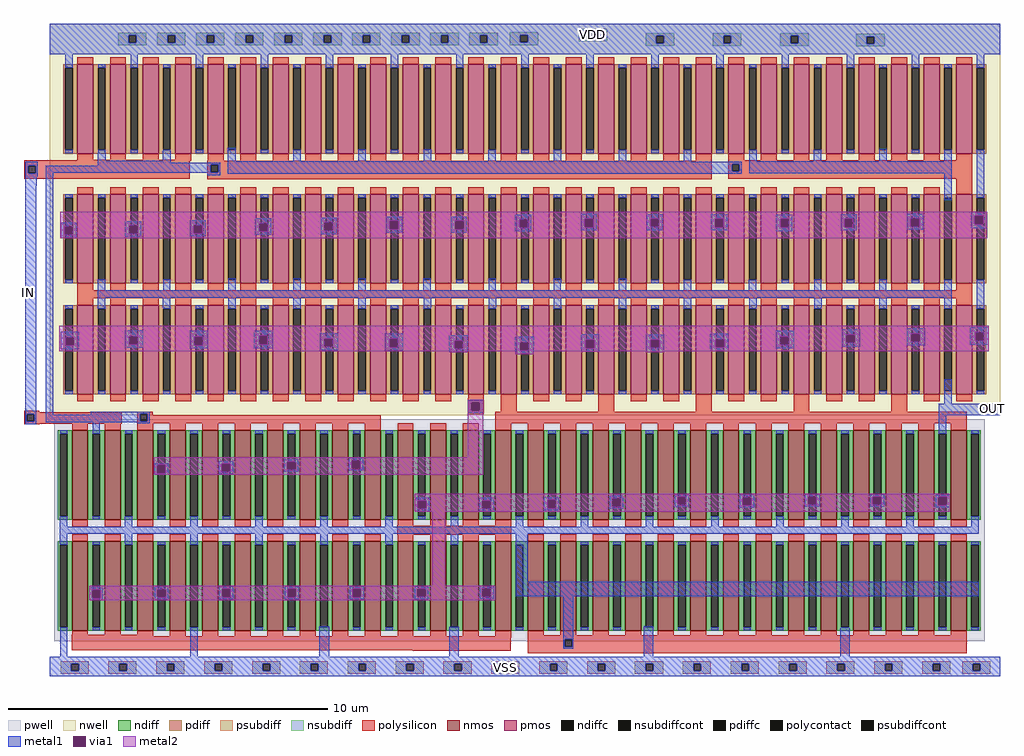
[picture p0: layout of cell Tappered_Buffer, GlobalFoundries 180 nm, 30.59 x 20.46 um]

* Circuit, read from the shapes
.subckt Tappered_Buffer IN OUT
XM1 OUT n1 VSS VSS nfet_03v3 w=2.8u l=0.5u m=32
XM2 n2 IN VSS VSS nfet_03v3 w=2.8u l=0.5u m=2
XM3 n1 n2 VSS VSS nfet_03v3 w=2.8u l=0.5u m=8
XM4 VSS VSS VSS VSS nfet_03v3 w=2.8u l=0.5u m=14
XM5 OUT n1 VDD VDD pfet_03v3 w=2.8u l=0.5u m=64
XM6 n2 IN VDD VDD pfet_03v3 w=2.8u l=0.5u m=4
XM7 n1 n2 VDD VDD pfet_03v3 w=2.8u l=0.5u m=16
.ends

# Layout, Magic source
magic
tech gf180mcuD
magscale 1 10
<< nwell >>
rect 0 788 5956 944
rect 403 757 3125 788
rect 3295 761 3575 788
rect 3707 760 4844 788
rect 5042 765 5257 788
rect 5524 762 5720 788
<< pwell >>
rect 2920 -2260 2970 -2254
rect 3327 -2260 3381 -2253
rect 3735 -2260 3791 -2252
rect 4144 -2260 4198 -2253
rect 4551 -2260 4605 -2254
rect 4959 -2260 5014 -2254
rect 5368 -2260 5429 -2254
<< psubdiff >>
rect 68 -3067 244 -3051
rect 68 -3113 136 -3067
rect 182 -3113 244 -3067
rect 68 -3130 244 -3113
rect 368 -3067 544 -3051
rect 368 -3113 436 -3067
rect 482 -3113 544 -3067
rect 368 -3130 544 -3113
rect 668 -3067 844 -3051
rect 668 -3113 736 -3067
rect 782 -3113 844 -3067
rect 668 -3130 844 -3113
rect 968 -3067 1144 -3051
rect 968 -3113 1036 -3067
rect 1082 -3113 1144 -3067
rect 968 -3130 1144 -3113
rect 1268 -3067 1444 -3051
rect 1268 -3113 1336 -3067
rect 1382 -3113 1444 -3067
rect 1268 -3130 1444 -3113
rect 1568 -3067 1744 -3051
rect 1568 -3113 1636 -3067
rect 1682 -3113 1744 -3067
rect 1568 -3130 1744 -3113
rect 1868 -3067 2044 -3051
rect 1868 -3113 1936 -3067
rect 1982 -3113 2044 -3067
rect 1868 -3130 2044 -3113
rect 2168 -3067 2344 -3051
rect 2168 -3113 2236 -3067
rect 2282 -3113 2344 -3067
rect 2168 -3130 2344 -3113
rect 2468 -3067 2644 -3051
rect 2468 -3113 2536 -3067
rect 2582 -3113 2644 -3067
rect 2468 -3130 2644 -3113
rect 2768 -3067 2944 -3051
rect 2768 -3113 2836 -3067
rect 2882 -3113 2944 -3067
rect 2768 -3130 2944 -3113
rect 3068 -3067 3244 -3051
rect 3068 -3113 3136 -3067
rect 3182 -3113 3244 -3067
rect 3068 -3130 3244 -3113
rect 3368 -3067 3544 -3051
rect 3368 -3113 3436 -3067
rect 3482 -3113 3544 -3067
rect 3368 -3130 3544 -3113
rect 3668 -3067 3844 -3051
rect 3668 -3113 3736 -3067
rect 3782 -3113 3844 -3067
rect 3668 -3130 3844 -3113
rect 3968 -3067 4144 -3051
rect 3968 -3113 4036 -3067
rect 4082 -3113 4144 -3067
rect 3968 -3130 4144 -3113
rect 4268 -3067 4444 -3051
rect 4268 -3113 4336 -3067
rect 4382 -3113 4444 -3067
rect 4268 -3130 4444 -3113
rect 4568 -3067 4744 -3051
rect 4568 -3113 4636 -3067
rect 4682 -3113 4744 -3067
rect 4568 -3130 4744 -3113
rect 4868 -3067 5044 -3051
rect 4868 -3113 4936 -3067
rect 4982 -3113 5044 -3067
rect 4868 -3130 5044 -3113
rect 5168 -3067 5344 -3051
rect 5168 -3113 5236 -3067
rect 5282 -3113 5344 -3067
rect 5168 -3130 5344 -3113
rect 5468 -3067 5644 -3051
rect 5468 -3113 5536 -3067
rect 5582 -3113 5644 -3067
rect 5468 -3130 5644 -3113
rect 5718 -3067 5894 -3051
rect 5718 -3113 5786 -3067
rect 5832 -3113 5894 -3067
rect 5718 -3130 5894 -3113
<< nsubdiff >>
rect 3315 905 3492 913
rect 3315 896 3493 905
rect 429 871 606 888
rect 429 825 496 871
rect 542 825 606 871
rect 429 809 606 825
rect 673 871 850 888
rect 673 825 740 871
rect 786 825 850 871
rect 673 809 850 825
rect 918 871 1095 888
rect 918 825 985 871
rect 1031 825 1095 871
rect 918 809 1095 825
rect 1162 871 1339 888
rect 1162 825 1229 871
rect 1275 825 1339 871
rect 1162 809 1339 825
rect 1407 871 1584 888
rect 1407 825 1474 871
rect 1520 825 1584 871
rect 1407 809 1584 825
rect 1652 871 1829 888
rect 1652 825 1719 871
rect 1765 825 1829 871
rect 1652 809 1829 825
rect 1896 871 2073 888
rect 1896 825 1963 871
rect 2009 825 2073 871
rect 1896 809 2073 825
rect 2141 871 2318 888
rect 2141 825 2208 871
rect 2254 825 2318 871
rect 2141 809 2318 825
rect 2386 871 2563 888
rect 2386 825 2453 871
rect 2499 825 2563 871
rect 2386 809 2563 825
rect 2630 871 2807 888
rect 2630 825 2697 871
rect 2743 825 2807 871
rect 2630 809 2807 825
rect 2883 881 3060 889
rect 2883 872 3061 881
rect 2883 826 2950 872
rect 2996 826 3061 872
rect 3315 850 3382 896
rect 3428 850 3493 896
rect 3315 839 3493 850
rect 3735 876 3912 884
rect 4157 876 4334 884
rect 4579 876 4756 884
rect 3735 867 3913 876
rect 3315 834 3492 839
rect 2883 815 3061 826
rect 3735 821 3802 867
rect 3848 821 3913 867
rect 2883 810 3060 815
rect 3735 810 3913 821
rect 4157 867 4335 876
rect 4157 821 4224 867
rect 4270 821 4335 867
rect 4157 810 4335 821
rect 4579 867 4757 876
rect 4579 821 4646 867
rect 4692 821 4757 867
rect 4579 810 4757 821
rect 5055 872 5232 880
rect 5055 863 5233 872
rect 5055 817 5122 863
rect 5168 817 5233 863
rect 3735 805 3912 810
rect 4157 805 4334 810
rect 4579 805 4756 810
rect 5055 806 5233 817
rect 5055 801 5232 806
<< psubdiffcont >>
rect 136 -3113 182 -3067
rect 436 -3113 482 -3067
rect 736 -3113 782 -3067
rect 1036 -3113 1082 -3067
rect 1336 -3113 1382 -3067
rect 1636 -3113 1682 -3067
rect 1936 -3113 1982 -3067
rect 2236 -3113 2282 -3067
rect 2536 -3113 2582 -3067
rect 2836 -3113 2882 -3067
rect 3136 -3113 3182 -3067
rect 3436 -3113 3482 -3067
rect 3736 -3113 3782 -3067
rect 4036 -3113 4082 -3067
rect 4336 -3113 4382 -3067
rect 4636 -3113 4682 -3067
rect 4936 -3113 4982 -3067
rect 5236 -3113 5282 -3067
rect 5536 -3113 5582 -3067
rect 5786 -3113 5832 -3067
<< nsubdiffcont >>
rect 496 825 542 871
rect 740 825 786 871
rect 985 825 1031 871
rect 1229 825 1275 871
rect 1474 825 1520 871
rect 1719 825 1765 871
rect 1963 825 2009 871
rect 2208 825 2254 871
rect 2453 825 2499 871
rect 2697 825 2743 871
rect 2950 826 2996 872
rect 3382 850 3428 896
rect 3802 821 3848 867
rect 4224 821 4270 867
rect 4646 821 4692 867
rect 5122 817 5168 863
<< polysilicon >>
rect 175 91 273 120
rect 786 91 878 121
rect 173 89 878 91
rect -158 53 878 89
rect -158 7 -134 53
rect -88 7 878 53
rect -158 -28 878 7
rect 988 58 4150 86
rect 988 12 1011 58
rect 1057 12 4150 58
rect -158 -29 185 -28
rect 988 -30 4150 12
rect 4254 64 5782 88
rect 4254 18 4277 64
rect 4323 18 5782 64
rect 4254 -29 5782 18
rect 5681 -99 5782 -29
rect 174 -728 477 -727
rect 174 -776 5781 -728
rect 2620 -1433 2722 -1404
rect 2620 -1479 2645 -1433
rect 2691 -1479 2722 -1433
rect -161 -1492 -66 -1482
rect -161 -1503 451 -1492
rect -161 -1549 -143 -1503
rect -97 -1549 451 -1503
rect -161 -1563 451 -1549
rect 548 -1501 645 -1487
rect 548 -1547 567 -1501
rect 613 -1511 645 -1501
rect 2620 -1505 2722 -1479
rect 2826 -1490 2926 -1424
rect 3438 -1490 3538 -1424
rect 4050 -1490 4150 -1424
rect 4662 -1490 4762 -1424
rect 5274 -1490 5374 -1424
rect 613 -1547 2076 -1511
rect 548 -1560 2076 -1547
rect 2792 -1560 5748 -1490
rect -161 -1568 -66 -1563
rect 2179 -2203 2279 -2200
rect 2179 -2260 2892 -2203
rect 138 -2895 646 -2887
rect 138 -2897 2279 -2895
rect 138 -2984 2891 -2897
rect 2276 -2985 2891 -2984
rect 2996 -2915 5748 -2890
rect 2996 -2961 3229 -2915
rect 3275 -2961 5748 -2915
rect 2996 -3001 5748 -2961
<< polycontact >>
rect -134 7 -88 53
rect 1011 12 1057 58
rect 4277 18 4323 64
rect 2645 -1479 2691 -1433
rect -143 -1549 -97 -1503
rect 567 -1547 613 -1501
rect 3229 -2961 3275 -2915
<< metal1 >>
rect 0 896 5956 944
rect 0 872 3382 896
rect 0 871 2950 872
rect 0 825 496 871
rect 542 825 740 871
rect 786 825 985 871
rect 1031 825 1229 871
rect 1275 825 1474 871
rect 1520 825 1719 871
rect 1765 825 1963 871
rect 2009 825 2208 871
rect 2254 825 2453 871
rect 2499 825 2697 871
rect 2743 826 2950 871
rect 2996 850 3382 872
rect 3428 867 5956 896
rect 3428 850 3802 867
rect 2996 826 3802 850
rect 2743 825 3802 826
rect 0 821 3802 825
rect 3848 821 4224 867
rect 4270 821 4646 867
rect 4692 863 5956 867
rect 4692 821 5122 863
rect 0 817 5122 821
rect 5168 817 5956 863
rect 0 753 5956 817
rect 99 677 145 753
rect 507 677 553 753
rect 914 675 961 753
rect 1323 677 1369 753
rect 1731 677 1777 753
rect 2139 677 2185 753
rect 2547 677 2593 753
rect 2955 677 3001 753
rect 3363 677 3409 753
rect 3771 676 3817 753
rect 4178 666 4226 753
rect 4587 675 4633 753
rect 4995 677 5041 753
rect 5403 678 5449 753
rect 5811 678 5857 753
rect 300 86 351 136
rect 709 86 758 147
rect -153 53 -76 78
rect 300 73 758 86
rect 1117 82 1166 166
rect 1526 82 1573 155
rect 1934 82 1981 156
rect 2343 82 2390 156
rect 2750 82 2797 154
rect 3158 82 3205 154
rect 3566 82 3613 154
rect 3974 82 4021 155
rect 1117 79 4021 82
rect 4383 80 4430 155
rect 4789 80 4836 155
rect 5198 80 5245 159
rect 5607 80 5654 155
rect 300 58 1070 73
rect 300 54 1011 58
rect -153 28 -134 53
rect -154 7 -134 28
rect -88 7 -76 53
rect -154 -16 -76 7
rect -24 12 1011 54
rect 1057 12 1070 58
rect -24 9 1070 12
rect -24 8 758 9
rect -154 -73 -80 -16
rect -154 -1503 -85 -73
rect -154 -1549 -143 -1503
rect -97 -1549 -85 -1503
rect -154 -1568 -85 -1549
rect -24 -1508 22 8
rect 987 -5 1070 9
rect 1117 64 4336 79
rect 1117 18 4277 64
rect 4323 18 4336 64
rect 1117 3 4336 18
rect 4383 7 5654 80
rect 5606 -164 5654 7
rect 5811 -136 5857 145
rect 68 -327 169 -304
rect 68 -379 94 -327
rect 146 -379 169 -327
rect 68 -401 169 -379
rect 474 -320 575 -294
rect 474 -372 499 -320
rect 551 -372 575 -320
rect 474 -392 575 -372
rect 879 -319 979 -289
rect 879 -371 904 -319
rect 956 -371 979 -319
rect 879 -390 979 -371
rect 1289 -306 1389 -277
rect 1289 -358 1314 -306
rect 1366 -358 1389 -306
rect 1289 -378 1389 -358
rect 1699 -302 1799 -274
rect 1699 -354 1722 -302
rect 1774 -354 1799 -302
rect 1699 -375 1799 -354
rect 2109 -293 2209 -265
rect 2109 -345 2132 -293
rect 2184 -345 2209 -293
rect 2109 -366 2209 -345
rect 2515 -292 2615 -265
rect 2515 -344 2543 -292
rect 2595 -344 2615 -292
rect 2515 -366 2615 -344
rect 2918 -283 3018 -255
rect 2918 -335 2945 -283
rect 2997 -335 3018 -283
rect 2918 -356 3018 -335
rect 3328 -280 3428 -249
rect 3328 -332 3355 -280
rect 3407 -332 3428 -280
rect 3328 -350 3428 -332
rect 3743 -278 3843 -250
rect 3743 -330 3766 -278
rect 3818 -330 3843 -278
rect 3743 -351 3843 -330
rect 4147 -280 4247 -251
rect 4147 -332 4171 -280
rect 4223 -332 4247 -280
rect 4147 -352 4247 -332
rect 4555 -280 4655 -255
rect 4555 -332 4581 -280
rect 4633 -332 4655 -280
rect 4555 -356 4655 -332
rect 4958 -280 5058 -251
rect 4958 -332 4982 -280
rect 5034 -332 5058 -280
rect 4958 -352 5058 -332
rect 5374 -276 5474 -247
rect 5374 -328 5398 -276
rect 5450 -328 5474 -276
rect 5374 -348 5474 -328
rect 5775 -261 5875 -236
rect 5775 -313 5799 -261
rect 5851 -313 5875 -261
rect 5775 -337 5875 -313
rect 302 -728 349 -658
rect 711 -728 757 -658
rect 1119 -728 1165 -651
rect 1526 -728 1572 -651
rect 1934 -728 1980 -651
rect 2342 -728 2388 -651
rect 2751 -728 2797 -653
rect 3158 -728 3204 -651
rect 3566 -728 3612 -652
rect 3975 -728 4021 -660
rect 4382 -728 4428 -662
rect 4791 -728 4837 -658
rect 5198 -728 5244 -657
rect 5606 -728 5653 -662
rect 302 -775 5653 -728
rect 302 -844 349 -775
rect 710 -836 757 -775
rect 1119 -836 1166 -775
rect 1527 -836 1574 -775
rect 1935 -835 1982 -775
rect 2343 -835 2390 -775
rect 2751 -835 2798 -775
rect 3159 -835 3206 -775
rect 3567 -835 3614 -775
rect 3975 -834 4022 -775
rect 4383 -834 4430 -775
rect 4792 -834 4839 -775
rect 5200 -834 5247 -775
rect 5606 -833 5653 -775
rect 5810 -838 5857 -667
rect 68 -1021 183 -988
rect 68 -1073 100 -1021
rect 152 -1073 183 -1021
rect 68 -1097 183 -1073
rect 471 -1015 586 -977
rect 471 -1067 499 -1015
rect 551 -1067 586 -1015
rect 471 -1086 586 -1067
rect 877 -1019 992 -981
rect 877 -1071 907 -1019
rect 959 -1071 992 -1019
rect 877 -1090 992 -1071
rect 1282 -1013 1397 -981
rect 1282 -1065 1312 -1013
rect 1364 -1065 1397 -1013
rect 1282 -1090 1397 -1065
rect 1692 -1030 1807 -995
rect 1692 -1082 1722 -1030
rect 1774 -1082 1807 -1030
rect 1692 -1104 1807 -1082
rect 2100 -1031 2215 -998
rect 2100 -1083 2130 -1031
rect 2182 -1083 2215 -1031
rect 2100 -1107 2215 -1083
rect 2504 -1042 2619 -1008
rect 2504 -1094 2538 -1042
rect 2590 -1094 2619 -1042
rect 2504 -1117 2619 -1094
rect 2918 -1052 3033 -1018
rect 2918 -1104 2950 -1052
rect 3002 -1104 3033 -1052
rect 2918 -1127 3033 -1104
rect 3330 -1038 3445 -1003
rect 3330 -1090 3361 -1038
rect 3413 -1090 3445 -1038
rect 3330 -1112 3445 -1090
rect 3737 -1036 3852 -1006
rect 3737 -1088 3768 -1036
rect 3820 -1088 3852 -1036
rect 3737 -1115 3852 -1088
rect 4139 -1033 4254 -999
rect 4139 -1085 4175 -1033
rect 4227 -1085 4254 -1033
rect 4139 -1108 4254 -1085
rect 4550 -1017 4665 -981
rect 4550 -1069 4580 -1017
rect 4632 -1069 4665 -1017
rect 4550 -1090 4665 -1069
rect 4966 -1005 5081 -972
rect 4966 -1057 4993 -1005
rect 5045 -1057 5081 -1005
rect 4966 -1081 5081 -1057
rect 5372 -999 5487 -964
rect 5372 -1051 5401 -999
rect 5453 -1051 5487 -999
rect 5372 -1073 5487 -1051
rect 5769 -991 5884 -959
rect 5769 -1043 5803 -991
rect 5855 -1043 5884 -991
rect 5769 -1068 5884 -1043
rect 2621 -1430 2718 -1415
rect 2621 -1482 2642 -1430
rect 2694 -1482 2718 -1430
rect 5607 -1438 5654 -1286
rect 258 -1501 628 -1487
rect 2621 -1495 2718 -1482
rect 258 -1508 567 -1501
rect -24 -1547 567 -1508
rect 613 -1547 628 -1501
rect -24 -1554 628 -1547
rect 269 -1617 315 -1554
rect 548 -1560 628 -1554
rect 5572 -1509 5955 -1438
rect 5572 -1615 5619 -1509
rect 654 -1822 743 -1810
rect 654 -1874 673 -1822
rect 725 -1874 743 -1822
rect 654 -1884 743 -1874
rect 1060 -1813 1149 -1798
rect 1060 -1865 1079 -1813
rect 1131 -1865 1149 -1813
rect 1470 -1801 1559 -1785
rect 1470 -1853 1490 -1801
rect 1542 -1853 1559 -1801
rect 1470 -1863 1559 -1853
rect 1875 -1793 1964 -1778
rect 1875 -1845 1894 -1793
rect 1946 -1845 1964 -1793
rect 1875 -1856 1964 -1845
rect 1060 -1876 1149 -1865
rect 2289 -2046 2379 -2029
rect 2289 -2098 2307 -2046
rect 2359 -2098 2379 -2046
rect 2289 -2114 2379 -2098
rect 2692 -2045 2782 -2029
rect 2692 -2097 2711 -2045
rect 2763 -2097 2782 -2045
rect 2692 -2111 2782 -2097
rect 3098 -2041 3192 -2025
rect 3098 -2093 3120 -2041
rect 3172 -2093 3192 -2041
rect 3098 -2105 3192 -2093
rect 3509 -2031 3596 -2016
rect 3509 -2083 3527 -2031
rect 3579 -2083 3596 -2031
rect 3509 -2095 3596 -2083
rect 3916 -2020 4006 -2005
rect 3916 -2072 3936 -2020
rect 3988 -2072 4006 -2020
rect 3916 -2085 4006 -2072
rect 4324 -2023 4415 -2006
rect 4324 -2075 4345 -2023
rect 4397 -2075 4415 -2023
rect 4324 -2089 4415 -2075
rect 4733 -2019 4826 -2005
rect 4733 -2071 4753 -2019
rect 4805 -2071 4826 -2019
rect 4733 -2085 4826 -2071
rect 5142 -2020 5231 -2005
rect 5142 -2072 5160 -2020
rect 5212 -2072 5231 -2020
rect 5142 -2085 5231 -2072
rect 5552 -2022 5640 -2008
rect 5552 -2074 5570 -2022
rect 5622 -2074 5640 -2022
rect 5552 -2086 5640 -2074
rect 64 -2208 111 -2149
rect 472 -2208 519 -2147
rect 881 -2208 928 -2149
rect 1289 -2208 1336 -2148
rect 1696 -2208 1743 -2148
rect 2104 -2208 2151 -2149
rect 2513 -2208 2560 -2147
rect 2920 -2208 2967 -2149
rect 3328 -2208 3375 -2149
rect 3737 -2208 3784 -2149
rect 4145 -2208 4192 -2149
rect 4553 -2208 4600 -2148
rect 4961 -2208 5008 -2148
rect 5369 -2208 5416 -2147
rect 5776 -2208 5823 -2149
rect 64 -2254 5823 -2208
rect 64 -2313 111 -2254
rect 472 -2313 519 -2254
rect 881 -2313 928 -2254
rect 1289 -2312 1336 -2254
rect 1696 -2312 1743 -2254
rect 2104 -2313 2151 -2254
rect 2513 -2311 2560 -2254
rect 2921 -2553 2997 -2254
rect 248 -2605 334 -2589
rect 248 -2657 266 -2605
rect 318 -2657 334 -2605
rect 248 -2671 334 -2657
rect 657 -2600 743 -2583
rect 657 -2652 674 -2600
rect 726 -2652 743 -2600
rect 657 -2666 743 -2652
rect 1063 -2598 1149 -2582
rect 1063 -2650 1081 -2598
rect 1133 -2650 1149 -2598
rect 1063 -2665 1149 -2650
rect 1473 -2598 1560 -2583
rect 1473 -2650 1491 -2598
rect 1543 -2650 1560 -2598
rect 1473 -2665 1560 -2650
rect 1882 -2598 1969 -2582
rect 1882 -2650 1899 -2598
rect 1951 -2650 1969 -2598
rect 1882 -2664 1969 -2650
rect 2287 -2597 2374 -2581
rect 2287 -2649 2304 -2597
rect 2356 -2649 2374 -2597
rect 2287 -2663 2374 -2649
rect 2695 -2596 2782 -2580
rect 2695 -2648 2712 -2596
rect 2764 -2648 2782 -2596
rect 2921 -2645 5822 -2553
rect 2695 -2662 2782 -2648
rect 65 -3024 111 -2858
rect 881 -3024 927 -2858
rect 1691 -3024 1751 -2832
rect 2503 -3024 2563 -2835
rect 3220 -2915 3282 -2645
rect 3220 -2961 3229 -2915
rect 3275 -2961 3282 -2915
rect 3220 -2973 3282 -2961
rect 3724 -3024 3784 -2833
rect 4954 -3024 5014 -2844
rect 0 -3067 5956 -3024
rect 0 -3113 136 -3067
rect 182 -3113 436 -3067
rect 482 -3113 736 -3067
rect 782 -3113 1036 -3067
rect 1082 -3113 1336 -3067
rect 1382 -3113 1636 -3067
rect 1682 -3113 1936 -3067
rect 1982 -3113 2236 -3067
rect 2282 -3113 2536 -3067
rect 2582 -3113 2836 -3067
rect 2882 -3113 3136 -3067
rect 3182 -3113 3436 -3067
rect 3482 -3113 3736 -3067
rect 3782 -3113 4036 -3067
rect 4082 -3113 4336 -3067
rect 4382 -3113 4636 -3067
rect 4682 -3113 4936 -3067
rect 4982 -3113 5236 -3067
rect 5282 -3113 5536 -3067
rect 5582 -3113 5786 -3067
rect 5832 -3113 5956 -3067
rect 0 -3147 5956 -3113
<< via1 >>
rect 94 -379 146 -327
rect 499 -372 551 -320
rect 904 -371 956 -319
rect 1314 -358 1366 -306
rect 1722 -354 1774 -302
rect 2132 -345 2184 -293
rect 2543 -344 2595 -292
rect 2945 -335 2997 -283
rect 3355 -332 3407 -280
rect 3766 -330 3818 -278
rect 4171 -332 4223 -280
rect 4581 -332 4633 -280
rect 4982 -332 5034 -280
rect 5398 -328 5450 -276
rect 5799 -313 5851 -261
rect 100 -1073 152 -1021
rect 499 -1067 551 -1015
rect 907 -1071 959 -1019
rect 1312 -1065 1364 -1013
rect 1722 -1082 1774 -1030
rect 2130 -1083 2182 -1031
rect 2538 -1094 2590 -1042
rect 2950 -1104 3002 -1052
rect 3361 -1090 3413 -1038
rect 3768 -1088 3820 -1036
rect 4175 -1085 4227 -1033
rect 4580 -1069 4632 -1017
rect 4993 -1057 5045 -1005
rect 5401 -1051 5453 -999
rect 5803 -1043 5855 -991
rect 2642 -1433 2694 -1430
rect 2642 -1479 2645 -1433
rect 2645 -1479 2691 -1433
rect 2691 -1479 2694 -1433
rect 2642 -1482 2694 -1479
rect 673 -1874 725 -1822
rect 1079 -1865 1131 -1813
rect 1490 -1853 1542 -1801
rect 1894 -1845 1946 -1793
rect 2307 -2098 2359 -2046
rect 2711 -2097 2763 -2045
rect 3120 -2093 3172 -2041
rect 3527 -2083 3579 -2031
rect 3936 -2072 3988 -2020
rect 4345 -2075 4397 -2023
rect 4753 -2071 4805 -2019
rect 5160 -2072 5212 -2020
rect 5570 -2074 5622 -2022
rect 266 -2657 318 -2605
rect 674 -2652 726 -2600
rect 1081 -2650 1133 -2598
rect 1491 -2650 1543 -2598
rect 1899 -2650 1951 -2598
rect 2304 -2649 2356 -2597
rect 2712 -2648 2764 -2596
<< metal2 >>
rect 66 -261 5875 -234
rect 66 -276 5799 -261
rect 66 -278 5398 -276
rect 66 -280 3766 -278
rect 66 -283 3355 -280
rect 66 -292 2945 -283
rect 66 -293 2543 -292
rect 66 -302 2132 -293
rect 66 -306 1722 -302
rect 66 -319 1314 -306
rect 66 -320 904 -319
rect 66 -327 499 -320
rect 66 -379 94 -327
rect 146 -372 499 -327
rect 551 -371 904 -320
rect 956 -358 1314 -319
rect 1366 -354 1722 -306
rect 1774 -345 2132 -302
rect 2184 -344 2543 -293
rect 2595 -335 2945 -292
rect 2997 -332 3355 -283
rect 3407 -330 3766 -280
rect 3818 -280 5398 -278
rect 3818 -330 4171 -280
rect 3407 -332 4171 -330
rect 4223 -332 4581 -280
rect 4633 -332 4982 -280
rect 5034 -328 5398 -280
rect 5450 -313 5799 -276
rect 5851 -313 5875 -261
rect 5450 -328 5875 -313
rect 5034 -332 5875 -328
rect 2997 -335 5875 -332
rect 2595 -344 5875 -335
rect 2184 -345 5875 -344
rect 1774 -354 5875 -345
rect 1366 -358 5875 -354
rect 956 -371 5875 -358
rect 551 -372 5875 -371
rect 146 -379 5875 -372
rect 66 -400 5875 -379
rect 68 -401 169 -400
rect 61 -991 5885 -949
rect 61 -999 5803 -991
rect 61 -1005 5401 -999
rect 61 -1013 4993 -1005
rect 61 -1015 1312 -1013
rect 61 -1021 499 -1015
rect 61 -1073 100 -1021
rect 152 -1067 499 -1021
rect 551 -1019 1312 -1015
rect 551 -1067 907 -1019
rect 152 -1071 907 -1067
rect 959 -1065 1312 -1019
rect 1364 -1017 4993 -1013
rect 1364 -1030 4580 -1017
rect 1364 -1065 1722 -1030
rect 959 -1071 1722 -1065
rect 152 -1073 1722 -1071
rect 61 -1082 1722 -1073
rect 1774 -1031 4580 -1030
rect 1774 -1082 2130 -1031
rect 61 -1083 2130 -1082
rect 2182 -1033 4580 -1031
rect 2182 -1036 4175 -1033
rect 2182 -1038 3768 -1036
rect 2182 -1042 3361 -1038
rect 2182 -1083 2538 -1042
rect 61 -1094 2538 -1083
rect 2590 -1052 3361 -1042
rect 2590 -1094 2950 -1052
rect 61 -1104 2950 -1094
rect 3002 -1090 3361 -1052
rect 3413 -1088 3768 -1038
rect 3820 -1085 4175 -1036
rect 4227 -1069 4580 -1033
rect 4632 -1057 4993 -1017
rect 5045 -1051 5401 -1005
rect 5453 -1043 5803 -999
rect 5855 -1043 5885 -991
rect 5453 -1051 5885 -1043
rect 5045 -1057 5885 -1051
rect 4632 -1069 5885 -1057
rect 4227 -1085 5885 -1069
rect 3820 -1088 5885 -1085
rect 3413 -1090 5885 -1088
rect 3002 -1104 5885 -1090
rect 61 -1108 5885 -1104
rect 2504 -1117 2619 -1108
rect 2918 -1127 3033 -1108
rect 3330 -1112 3445 -1108
rect 3737 -1115 3852 -1108
rect 2619 -1430 2718 -1413
rect 2619 -1482 2642 -1430
rect 2694 -1482 2718 -1430
rect 2619 -1773 2718 -1482
rect 1883 -1775 2718 -1773
rect 653 -1793 2718 -1775
rect 653 -1801 1894 -1793
rect 653 -1813 1490 -1801
rect 653 -1822 1079 -1813
rect 653 -1874 673 -1822
rect 725 -1865 1079 -1822
rect 1131 -1853 1490 -1813
rect 1542 -1845 1894 -1801
rect 1946 -1845 2718 -1793
rect 1542 -1853 2718 -1845
rect 1131 -1865 2718 -1853
rect 725 -1874 2718 -1865
rect 653 -1884 2718 -1874
rect 2289 -2019 5640 -2003
rect 2289 -2020 4753 -2019
rect 2289 -2031 3936 -2020
rect 2289 -2041 3527 -2031
rect 2289 -2045 3120 -2041
rect 2289 -2046 2711 -2045
rect 2289 -2098 2307 -2046
rect 2359 -2097 2711 -2046
rect 2763 -2093 3120 -2045
rect 3172 -2083 3527 -2041
rect 3579 -2072 3936 -2031
rect 3988 -2023 4753 -2020
rect 3988 -2072 4345 -2023
rect 3579 -2075 4345 -2072
rect 4397 -2071 4753 -2023
rect 4805 -2020 5640 -2019
rect 4805 -2071 5160 -2020
rect 4397 -2072 5160 -2071
rect 5212 -2022 5640 -2020
rect 5212 -2072 5570 -2022
rect 4397 -2074 5570 -2072
rect 5622 -2074 5640 -2022
rect 4397 -2075 5640 -2074
rect 3579 -2083 5640 -2075
rect 3172 -2093 5640 -2083
rect 2763 -2097 5640 -2093
rect 2359 -2098 5640 -2097
rect 2289 -2114 5640 -2098
rect 2398 -2579 2480 -2114
rect 248 -2596 2791 -2579
rect 248 -2597 2712 -2596
rect 248 -2598 2304 -2597
rect 248 -2600 1081 -2598
rect 248 -2605 674 -2600
rect 248 -2657 266 -2605
rect 318 -2652 674 -2605
rect 726 -2650 1081 -2600
rect 1133 -2650 1491 -2598
rect 1543 -2650 1899 -2598
rect 1951 -2649 2304 -2598
rect 2356 -2648 2712 -2597
rect 2764 -2648 2791 -2596
rect 2356 -2649 2791 -2648
rect 1951 -2650 2791 -2649
rect 726 -2652 2791 -2650
rect 318 -2657 2791 -2652
rect 248 -2671 2791 -2657
use nmos_3p3_7NPLVN  nmos_3p3_7NPLVN_0
transform 1 0 2944 0 1 -2580
box -2916 -348 2916 348
use nmos_3p3_8FEAMQ  nmos_3p3_8FEAMQ_0
transform 1 0 292 0 1 -1884
box -264 -348 264 348
use nmos_3p3_JEEAMQ  nmos_3p3_JEEAMQ_0
transform 1 0 1312 0 1 -1884
box -876 -348 876 348
use nmos_3p3_PLQLVN  nmos_3p3_PLQLVN_0
transform 1 0 3964 0 1 -1884
box -1896 -348 1896 348
use pmos_3p3_MDMPD7  pmos_3p3_MDMPD7_0
transform 1 0 2978 0 1 -752
box -2978 -758 2978 758
use pmos_3p3_MV44E7  pmos_3p3_MV44E7_0
transform 1 0 2570 0 1 410
box -1754 -410 1754 410
use pmos_3p3_PPYSL5  pmos_3p3_PPYSL5_0
transform 1 0 530 0 1 410
box -530 -410 530 410
use pmos_3p3_PPZSL5  pmos_3p3_PPZSL5_0
transform 1 0 5018 0 1 410
box -938 -410 938 410
<< labels >>
flabel nsubdiffcont 3403 873 3403 873 0 FreeSans 750 0 0 0 VDD
flabel psubdiffcont 2859 -3090 2859 -3090 0 FreeSans 750 0 0 0 VSS
flabel metal1 s -131 -741 -131 -741 0 FreeSans 750 0 0 0 IN
port 1 nsew
flabel metal1 s 5909 -1469 5909 -1469 0 FreeSans 750 0 0 0 OUT
port 2 nsew
<< end >>

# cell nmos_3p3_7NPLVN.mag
magic
tech gf180mcuD
magscale 1 10
<< pwell >>
rect -2916 -348 2916 348
<< nmos >>
rect -2804 -280 -2704 280
rect -2600 -280 -2500 280
rect -2396 -280 -2296 280
rect -2192 -280 -2092 280
rect -1988 -280 -1888 280
rect -1784 -280 -1684 280
rect -1580 -280 -1480 280
rect -1376 -280 -1276 280
rect -1172 -280 -1072 280
rect -968 -280 -868 280
rect -764 -280 -664 280
rect -560 -280 -460 280
rect -356 -280 -256 280
rect -152 -280 -52 280
rect 52 -280 152 280
rect 256 -280 356 280
rect 460 -280 560 280
rect 664 -280 764 280
rect 868 -280 968 280
rect 1072 -280 1172 280
rect 1276 -280 1376 280
rect 1480 -280 1580 280
rect 1684 -280 1784 280
rect 1888 -280 1988 280
rect 2092 -280 2192 280
rect 2296 -280 2396 280
rect 2500 -280 2600 280
rect 2704 -280 2804 280
<< ndiff >>
rect -2892 258 -2804 280
rect -2892 -258 -2879 258
rect -2833 -258 -2804 258
rect -2892 -280 -2804 -258
rect -2704 258 -2600 280
rect -2704 -258 -2675 258
rect -2629 -258 -2600 258
rect -2704 -280 -2600 -258
rect -2500 258 -2396 280
rect -2500 -258 -2471 258
rect -2425 -258 -2396 258
rect -2500 -280 -2396 -258
rect -2296 258 -2192 280
rect -2296 -258 -2267 258
rect -2221 -258 -2192 258
rect -2296 -280 -2192 -258
rect -2092 258 -1988 280
rect -2092 -258 -2063 258
rect -2017 -258 -1988 258
rect -2092 -280 -1988 -258
rect -1888 258 -1784 280
rect -1888 -258 -1859 258
rect -1813 -258 -1784 258
rect -1888 -280 -1784 -258
rect -1684 258 -1580 280
rect -1684 -258 -1655 258
rect -1609 -258 -1580 258
rect -1684 -280 -1580 -258
rect -1480 258 -1376 280
rect -1480 -258 -1451 258
rect -1405 -258 -1376 258
rect -1480 -280 -1376 -258
rect -1276 258 -1172 280
rect -1276 -258 -1247 258
rect -1201 -258 -1172 258
rect -1276 -280 -1172 -258
rect -1072 258 -968 280
rect -1072 -258 -1043 258
rect -997 -258 -968 258
rect -1072 -280 -968 -258
rect -868 258 -764 280
rect -868 -258 -839 258
rect -793 -258 -764 258
rect -868 -280 -764 -258
rect -664 258 -560 280
rect -664 -258 -635 258
rect -589 -258 -560 258
rect -664 -280 -560 -258
rect -460 258 -356 280
rect -460 -258 -431 258
rect -385 -258 -356 258
rect -460 -280 -356 -258
rect -256 258 -152 280
rect -256 -258 -227 258
rect -181 -258 -152 258
rect -256 -280 -152 -258
rect -52 258 52 280
rect -52 -258 -23 258
rect 23 -258 52 258
rect -52 -280 52 -258
rect 152 258 256 280
rect 152 -258 181 258
rect 227 -258 256 258
rect 152 -280 256 -258
rect 356 258 460 280
rect 356 -258 385 258
rect 431 -258 460 258
rect 356 -280 460 -258
rect 560 258 664 280
rect 560 -258 589 258
rect 635 -258 664 258
rect 560 -280 664 -258
rect 764 258 868 280
rect 764 -258 793 258
rect 839 -258 868 258
rect 764 -280 868 -258
rect 968 258 1072 280
rect 968 -258 997 258
rect 1043 -258 1072 258
rect 968 -280 1072 -258
rect 1172 258 1276 280
rect 1172 -258 1201 258
rect 1247 -258 1276 258
rect 1172 -280 1276 -258
rect 1376 258 1480 280
rect 1376 -258 1405 258
rect 1451 -258 1480 258
rect 1376 -280 1480 -258
rect 1580 258 1684 280
rect 1580 -258 1609 258
rect 1655 -258 1684 258
rect 1580 -280 1684 -258
rect 1784 258 1888 280
rect 1784 -258 1813 258
rect 1859 -258 1888 258
rect 1784 -280 1888 -258
rect 1988 258 2092 280
rect 1988 -258 2017 258
rect 2063 -258 2092 258
rect 1988 -280 2092 -258
rect 2192 258 2296 280
rect 2192 -258 2221 258
rect 2267 -258 2296 258
rect 2192 -280 2296 -258
rect 2396 258 2500 280
rect 2396 -258 2425 258
rect 2471 -258 2500 258
rect 2396 -280 2500 -258
rect 2600 258 2704 280
rect 2600 -258 2629 258
rect 2675 -258 2704 258
rect 2600 -280 2704 -258
rect 2804 258 2892 280
rect 2804 -258 2833 258
rect 2879 -258 2892 258
rect 2804 -280 2892 -258
<< ndiffc >>
rect -2879 -258 -2833 258
rect -2675 -258 -2629 258
rect -2471 -258 -2425 258
rect -2267 -258 -2221 258
rect -2063 -258 -2017 258
rect -1859 -258 -1813 258
rect -1655 -258 -1609 258
rect -1451 -258 -1405 258
rect -1247 -258 -1201 258
rect -1043 -258 -997 258
rect -839 -258 -793 258
rect -635 -258 -589 258
rect -431 -258 -385 258
rect -227 -258 -181 258
rect -23 -258 23 258
rect 181 -258 227 258
rect 385 -258 431 258
rect 589 -258 635 258
rect 793 -258 839 258
rect 997 -258 1043 258
rect 1201 -258 1247 258
rect 1405 -258 1451 258
rect 1609 -258 1655 258
rect 1813 -258 1859 258
rect 2017 -258 2063 258
rect 2221 -258 2267 258
rect 2425 -258 2471 258
rect 2629 -258 2675 258
rect 2833 -258 2879 258
<< polysilicon >>
rect -2804 280 -2704 324
rect -2600 280 -2500 324
rect -2396 280 -2296 324
rect -2192 280 -2092 324
rect -1988 280 -1888 324
rect -1784 280 -1684 324
rect -1580 280 -1480 324
rect -1376 280 -1276 324
rect -1172 280 -1072 324
rect -968 280 -868 324
rect -764 280 -664 324
rect -560 280 -460 324
rect -356 280 -256 324
rect -152 280 -52 324
rect 52 280 152 324
rect 256 280 356 324
rect 460 280 560 324
rect 664 280 764 324
rect 868 280 968 324
rect 1072 280 1172 324
rect 1276 280 1376 324
rect 1480 280 1580 324
rect 1684 280 1784 324
rect 1888 280 1988 324
rect 2092 280 2192 324
rect 2296 280 2396 324
rect 2500 280 2600 324
rect 2704 280 2804 324
rect -2804 -324 -2704 -280
rect -2600 -324 -2500 -280
rect -2396 -324 -2296 -280
rect -2192 -324 -2092 -280
rect -1988 -324 -1888 -280
rect -1784 -324 -1684 -280
rect -1580 -324 -1480 -280
rect -1376 -324 -1276 -280
rect -1172 -324 -1072 -280
rect -968 -324 -868 -280
rect -764 -324 -664 -280
rect -560 -324 -460 -280
rect -356 -324 -256 -280
rect -152 -324 -52 -280
rect 52 -324 152 -280
rect 256 -324 356 -280
rect 460 -324 560 -280
rect 664 -324 764 -280
rect 868 -324 968 -280
rect 1072 -324 1172 -280
rect 1276 -324 1376 -280
rect 1480 -324 1580 -280
rect 1684 -324 1784 -280
rect 1888 -324 1988 -280
rect 2092 -324 2192 -280
rect 2296 -324 2396 -280
rect 2500 -324 2600 -280
rect 2704 -324 2804 -280
<< metal1 >>
rect -2879 258 -2833 278
rect -2879 -278 -2833 -258
rect -2675 258 -2629 278
rect -2675 -278 -2629 -258
rect -2471 258 -2425 278
rect -2471 -278 -2425 -258
rect -2267 258 -2221 278
rect -2267 -278 -2221 -258
rect -2063 258 -2017 278
rect -2063 -278 -2017 -258
rect -1859 258 -1813 278
rect -1859 -278 -1813 -258
rect -1655 258 -1609 278
rect -1655 -278 -1609 -258
rect -1451 258 -1405 278
rect -1451 -278 -1405 -258
rect -1247 258 -1201 278
rect -1247 -278 -1201 -258
rect -1043 258 -997 278
rect -1043 -278 -997 -258
rect -839 258 -793 278
rect -839 -278 -793 -258
rect -635 258 -589 278
rect -635 -278 -589 -258
rect -431 258 -385 278
rect -431 -278 -385 -258
rect -227 258 -181 278
rect -227 -278 -181 -258
rect -23 258 23 278
rect -23 -278 23 -258
rect 181 258 227 278
rect 181 -278 227 -258
rect 385 258 431 278
rect 385 -278 431 -258
rect 589 258 635 278
rect 589 -278 635 -258
rect 793 258 839 278
rect 793 -278 839 -258
rect 997 258 1043 278
rect 997 -278 1043 -258
rect 1201 258 1247 278
rect 1201 -278 1247 -258
rect 1405 258 1451 278
rect 1405 -278 1451 -258
rect 1609 258 1655 278
rect 1609 -278 1655 -258
rect 1813 258 1859 278
rect 1813 -278 1859 -258
rect 2017 258 2063 278
rect 2017 -278 2063 -258
rect 2221 258 2267 278
rect 2221 -278 2267 -258
rect 2425 258 2471 278
rect 2425 -278 2471 -258
rect 2629 258 2675 278
rect 2629 -278 2675 -258
rect 2833 258 2879 278
rect 2833 -278 2879 -258
<< end >>

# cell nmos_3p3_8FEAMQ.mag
magic
tech gf180mcuD
magscale 1 10
<< pwell >>
rect -264 -348 264 348
<< nmos >>
rect -152 -280 -52 280
rect 52 -280 152 280
<< ndiff >>
rect -240 258 -152 280
rect -240 -258 -227 258
rect -181 -258 -152 258
rect -240 -280 -152 -258
rect -52 258 52 280
rect -52 -258 -23 258
rect 23 -258 52 258
rect -52 -280 52 -258
rect 152 258 240 280
rect 152 -258 181 258
rect 227 -258 240 258
rect 152 -280 240 -258
<< ndiffc >>
rect -227 -258 -181 258
rect -23 -258 23 258
rect 181 -258 227 258
<< polysilicon >>
rect -152 280 -52 324
rect 52 280 152 324
rect -152 -324 -52 -280
rect 52 -324 152 -280
<< metal1 >>
rect -227 258 -181 278
rect -227 -278 -181 -258
rect -23 258 23 278
rect -23 -278 23 -258
rect 181 258 227 278
rect 181 -278 227 -258
<< end >>

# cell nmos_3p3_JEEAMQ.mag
magic
tech gf180mcuD
magscale 1 10
<< pwell >>
rect -876 -348 876 348
<< nmos >>
rect -764 -280 -664 280
rect -560 -280 -460 280
rect -356 -280 -256 280
rect -152 -280 -52 280
rect 52 -280 152 280
rect 256 -280 356 280
rect 460 -280 560 280
rect 664 -280 764 280
<< ndiff >>
rect -852 258 -764 280
rect -852 -258 -839 258
rect -793 -258 -764 258
rect -852 -280 -764 -258
rect -664 258 -560 280
rect -664 -258 -635 258
rect -589 -258 -560 258
rect -664 -280 -560 -258
rect -460 258 -356 280
rect -460 -258 -431 258
rect -385 -258 -356 258
rect -460 -280 -356 -258
rect -256 258 -152 280
rect -256 -258 -227 258
rect -181 -258 -152 258
rect -256 -280 -152 -258
rect -52 258 52 280
rect -52 -258 -23 258
rect 23 -258 52 258
rect -52 -280 52 -258
rect 152 258 256 280
rect 152 -258 181 258
rect 227 -258 256 258
rect 152 -280 256 -258
rect 356 258 460 280
rect 356 -258 385 258
rect 431 -258 460 258
rect 356 -280 460 -258
rect 560 258 664 280
rect 560 -258 589 258
rect 635 -258 664 258
rect 560 -280 664 -258
rect 764 258 852 280
rect 764 -258 793 258
rect 839 -258 852 258
rect 764 -280 852 -258
<< ndiffc >>
rect -839 -258 -793 258
rect -635 -258 -589 258
rect -431 -258 -385 258
rect -227 -258 -181 258
rect -23 -258 23 258
rect 181 -258 227 258
rect 385 -258 431 258
rect 589 -258 635 258
rect 793 -258 839 258
<< polysilicon >>
rect -764 280 -664 324
rect -560 280 -460 324
rect -356 280 -256 324
rect -152 280 -52 324
rect 52 280 152 324
rect 256 280 356 324
rect 460 280 560 324
rect 664 280 764 324
rect -764 -324 -664 -280
rect -560 -324 -460 -280
rect -356 -324 -256 -280
rect -152 -324 -52 -280
rect 52 -324 152 -280
rect 256 -324 356 -280
rect 460 -324 560 -280
rect 664 -324 764 -280
<< metal1 >>
rect -839 258 -793 278
rect -839 -278 -793 -258
rect -635 258 -589 278
rect -635 -278 -589 -258
rect -431 258 -385 278
rect -431 -278 -385 -258
rect -227 258 -181 278
rect -227 -278 -181 -258
rect -23 258 23 278
rect -23 -278 23 -258
rect 181 258 227 278
rect 181 -278 227 -258
rect 385 258 431 278
rect 385 -278 431 -258
rect 589 258 635 278
rect 589 -278 635 -258
rect 793 258 839 278
rect 793 -278 839 -258
<< end >>

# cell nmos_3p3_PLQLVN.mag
magic
tech gf180mcuD
magscale 1 10
<< pwell >>
rect -1896 -348 1896 348
<< nmos >>
rect -1784 -280 -1684 280
rect -1580 -280 -1480 280
rect -1376 -280 -1276 280
rect -1172 -280 -1072 280
rect -968 -280 -868 280
rect -764 -280 -664 280
rect -560 -280 -460 280
rect -356 -280 -256 280
rect -152 -280 -52 280
rect 52 -280 152 280
rect 256 -280 356 280
rect 460 -280 560 280
rect 664 -280 764 280
rect 868 -280 968 280
rect 1072 -280 1172 280
rect 1276 -280 1376 280
rect 1480 -280 1580 280
rect 1684 -280 1784 280
<< ndiff >>
rect -1872 258 -1784 280
rect -1872 -258 -1859 258
rect -1813 -258 -1784 258
rect -1872 -280 -1784 -258
rect -1684 258 -1580 280
rect -1684 -258 -1655 258
rect -1609 -258 -1580 258
rect -1684 -280 -1580 -258
rect -1480 258 -1376 280
rect -1480 -258 -1451 258
rect -1405 -258 -1376 258
rect -1480 -280 -1376 -258
rect -1276 258 -1172 280
rect -1276 -258 -1247 258
rect -1201 -258 -1172 258
rect -1276 -280 -1172 -258
rect -1072 258 -968 280
rect -1072 -258 -1043 258
rect -997 -258 -968 258
rect -1072 -280 -968 -258
rect -868 258 -764 280
rect -868 -258 -839 258
rect -793 -258 -764 258
rect -868 -280 -764 -258
rect -664 258 -560 280
rect -664 -258 -635 258
rect -589 -258 -560 258
rect -664 -280 -560 -258
rect -460 258 -356 280
rect -460 -258 -431 258
rect -385 -258 -356 258
rect -460 -280 -356 -258
rect -256 258 -152 280
rect -256 -258 -227 258
rect -181 -258 -152 258
rect -256 -280 -152 -258
rect -52 258 52 280
rect -52 -258 -23 258
rect 23 -258 52 258
rect -52 -280 52 -258
rect 152 258 256 280
rect 152 -258 181 258
rect 227 -258 256 258
rect 152 -280 256 -258
rect 356 258 460 280
rect 356 -258 385 258
rect 431 -258 460 258
rect 356 -280 460 -258
rect 560 258 664 280
rect 560 -258 589 258
rect 635 -258 664 258
rect 560 -280 664 -258
rect 764 258 868 280
rect 764 -258 793 258
rect 839 -258 868 258
rect 764 -280 868 -258
rect 968 258 1072 280
rect 968 -258 997 258
rect 1043 -258 1072 258
rect 968 -280 1072 -258
rect 1172 258 1276 280
rect 1172 -258 1201 258
rect 1247 -258 1276 258
rect 1172 -280 1276 -258
rect 1376 258 1480 280
rect 1376 -258 1405 258
rect 1451 -258 1480 258
rect 1376 -280 1480 -258
rect 1580 258 1684 280
rect 1580 -258 1609 258
rect 1655 -258 1684 258
rect 1580 -280 1684 -258
rect 1784 258 1872 280
rect 1784 -258 1813 258
rect 1859 -258 1872 258
rect 1784 -280 1872 -258
<< ndiffc >>
rect -1859 -258 -1813 258
rect -1655 -258 -1609 258
rect -1451 -258 -1405 258
rect -1247 -258 -1201 258
rect -1043 -258 -997 258
rect -839 -258 -793 258
rect -635 -258 -589 258
rect -431 -258 -385 258
rect -227 -258 -181 258
rect -23 -258 23 258
rect 181 -258 227 258
rect 385 -258 431 258
rect 589 -258 635 258
rect 793 -258 839 258
rect 997 -258 1043 258
rect 1201 -258 1247 258
rect 1405 -258 1451 258
rect 1609 -258 1655 258
rect 1813 -258 1859 258
<< polysilicon >>
rect -1784 280 -1684 324
rect -1580 280 -1480 324
rect -1376 280 -1276 324
rect -1172 280 -1072 324
rect -968 280 -868 324
rect -764 280 -664 324
rect -560 280 -460 324
rect -356 280 -256 324
rect -152 280 -52 324
rect 52 280 152 324
rect 256 280 356 324
rect 460 280 560 324
rect 664 280 764 324
rect 868 280 968 324
rect 1072 280 1172 324
rect 1276 280 1376 324
rect 1480 280 1580 324
rect 1684 280 1784 324
rect -1784 -324 -1684 -280
rect -1580 -324 -1480 -280
rect -1376 -324 -1276 -280
rect -1172 -324 -1072 -280
rect -968 -324 -868 -280
rect -764 -324 -664 -280
rect -560 -324 -460 -280
rect -356 -324 -256 -280
rect -152 -324 -52 -280
rect 52 -324 152 -280
rect 256 -324 356 -280
rect 460 -324 560 -280
rect 664 -324 764 -280
rect 868 -324 968 -280
rect 1072 -324 1172 -280
rect 1276 -324 1376 -280
rect 1480 -324 1580 -280
rect 1684 -324 1784 -280
<< metal1 >>
rect -1859 258 -1813 278
rect -1859 -278 -1813 -258
rect -1655 258 -1609 278
rect -1655 -278 -1609 -258
rect -1451 258 -1405 278
rect -1451 -278 -1405 -258
rect -1247 258 -1201 278
rect -1247 -278 -1201 -258
rect -1043 258 -997 278
rect -1043 -278 -997 -258
rect -839 258 -793 278
rect -839 -278 -793 -258
rect -635 258 -589 278
rect -635 -278 -589 -258
rect -431 258 -385 278
rect -431 -278 -385 -258
rect -227 258 -181 278
rect -227 -278 -181 -258
rect -23 258 23 278
rect -23 -278 23 -258
rect 181 258 227 278
rect 181 -278 227 -258
rect 385 258 431 278
rect 385 -278 431 -258
rect 589 258 635 278
rect 589 -278 635 -258
rect 793 258 839 278
rect 793 -278 839 -258
rect 997 258 1043 278
rect 997 -278 1043 -258
rect 1201 258 1247 278
rect 1201 -278 1247 -258
rect 1405 258 1451 278
rect 1405 -278 1451 -258
rect 1609 258 1655 278
rect 1609 -278 1655 -258
rect 1813 258 1859 278
rect 1813 -278 1859 -258
<< end >>

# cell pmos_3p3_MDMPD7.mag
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
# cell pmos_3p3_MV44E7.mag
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
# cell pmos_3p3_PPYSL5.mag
magic
tech gf180mcuD
magscale 1 10
<< nwell >>
rect -530 -410 530 410
<< pmos >>
rect -356 -280 -256 280
rect -152 -280 -52 280
rect 52 -280 152 280
rect 256 -280 356 280
<< pdiff >>
rect -444 258 -356 280
rect -444 -258 -431 258
rect -385 -258 -356 258
rect -444 -280 -356 -258
rect -256 258 -152 280
rect -256 -258 -227 258
rect -181 -258 -152 258
rect -256 -280 -152 -258
rect -52 258 52 280
rect -52 -258 -23 258
rect 23 -258 52 258
rect -52 -280 52 -258
rect 152 258 256 280
rect 152 -258 181 258
rect 227 -258 256 258
rect 152 -280 256 -258
rect 356 258 444 280
rect 356 -258 385 258
rect 431 -258 444 258
rect 356 -280 444 -258
<< pdiffc >>
rect -431 -258 -385 258
rect -227 -258 -181 258
rect -23 -258 23 258
rect 181 -258 227 258
rect 385 -258 431 258
<< polysilicon >>
rect -356 280 -256 324
rect -152 280 -52 324
rect 52 280 152 324
rect 256 280 356 324
rect -356 -324 -256 -280
rect -152 -324 -52 -280
rect 52 -324 152 -280
rect 256 -324 356 -280
<< metal1 >>
rect -431 258 -385 278
rect -431 -278 -385 -258
rect -227 258 -181 278
rect -227 -278 -181 -258
rect -23 258 23 278
rect -23 -278 23 -258
rect 181 258 227 278
rect 181 -278 227 -258
rect 385 258 431 278
rect 385 -278 431 -258
<< end >>

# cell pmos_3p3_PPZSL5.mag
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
